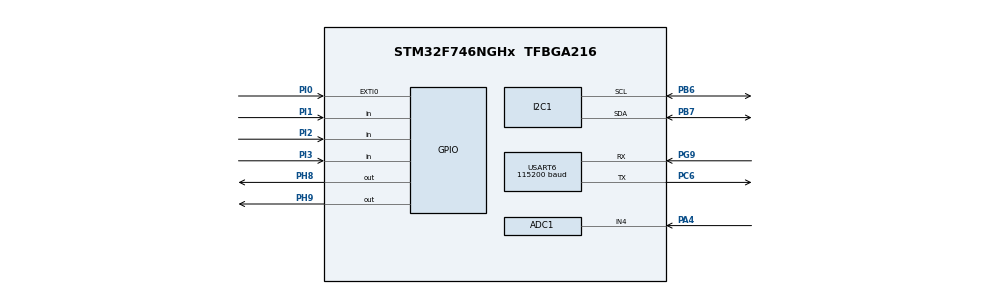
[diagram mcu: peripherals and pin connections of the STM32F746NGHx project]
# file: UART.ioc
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ADC1.Channel-0\#ChannelRegularConversion=ADC_CHANNEL_4
ADC1.NbrOfConversionFlag=1
ADC1.Rank-0\#ChannelRegularConversion=1
ADC1.SamplingTime-0\#ChannelRegularConversion=ADC_SAMPLETIME_3CYCLES
ADC1.master=1
Mcu.Family=STM32F7
Mcu.Name=STM32F746NGHx
Mcu.Package=TFBGA216
NVIC.ADC_IRQn=true\:0\:0\:false\:false\:true\:true\:true\:true
NVIC.EXTI0_IRQn=true\:1\:0\:true\:false\:true\:true\:true\:true
NVIC.PriorityGroup=NVIC_PRIORITYGROUP_4
NVIC.USART6_IRQn=true\:0\:0\:true\:false\:true\:true\:true\:true
PA4.Signal=ADCx_IN4
PB6.Mode=I2C
PB6.Signal=I2C1_SCL
PB7.Mode=I2C
PB7.Signal=I2C1_SDA
PC6.Mode=Asynchronous
PC6.Signal=USART6_TX
PG9.Mode=Asynchronous
PG9.Signal=USART6_RX
PH8.GPIO_Speed=GPIO_SPEED_FREQ_HIGH
PH8.PinState=GPIO_PIN_SET
PH8.Signal=GPIO_Output
PH9.GPIO_Speed=GPIO_SPEED_FREQ_HIGH
PH9.PinState=GPIO_PIN_SET
PH9.Signal=GPIO_Output
PI0.GPIO_ModeDefaultEXTI=GPIO_MODE_IT_RISING_FALLING
PI0.GPIO_PuPd=GPIO_PULLUP
PI0.Signal=GPXTI0
PI1.GPIO_PuPd=GPIO_PULLUP
PI1.Signal=GPIO_Input
PI2.GPIO_PuPd=GPIO_PULLUP
PI2.Signal=GPIO_Input
PI3.GPIO_PuPd=GPIO_PULLUP
PI3.Signal=GPIO_Input
ProjectManager.HeapSize=0x200
ProjectManager.StackSize=0x400
ProjectManager.TargetToolchain=STM32CubeIDE
RCC.HSE_VALUE=25000000
RCC.HSI_VALUE=16000000
RCC.LSE_VALUE=32768
RCC.USBFreq_Value=96000000
RCC.VCOOutputFreq_Value=192000000
SH.ADCx_IN4.0=ADC1_IN4,IN4
USART6.BaudRate=115200
USART6.VirtualMode-Asynchronous=VM_ASYNC
board=custom

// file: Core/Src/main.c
/* USER CODE BEGIN Header */
/**
  ******************************************************************************
  * @file           : main.c
  * @brief          : Main program body
  ******************************************************************************
  * @attention
  *
  * Copyright (c) 2023 STMicroelectronics.
  * All rights reserved.
  *
  * This software is licensed under terms that can be found in the LICENSE file
  * in the root directory of this software component.
  * If no LICENSE file comes with this software, it is provided AS-IS.
  *
  ******************************************************************************
  */
/* USER CODE END Header */
#include "main.h"

/* USER CODE BEGIN Includes */
#include "string.h"
/* USER CODE END Includes */

ADC_HandleTypeDef hadc1;

I2C_HandleTypeDef hi2c1;

UART_HandleTypeDef huart6;

void SystemClock_Config(void);
static void MX_GPIO_Init(void);
static void MX_USART6_UART_Init(void);
static void MX_I2C1_Init(void);
static void MX_ADC1_Init(void);

/* USER CODE BEGIN 0 */

char  RxData[9] = {0};
char RxBuffer[50] = {0};
uint8_t rxIndex = 0;
uint32_t uartTick = 0;

/********** Callback after UARTR Receiver Interrupt completion ***********/

void HAL_UART_RxCpltCallback(UART_HandleTypeDef *huart)
{
	uartTick = HAL_GetTick();

	RxBuffer[rxIndex] = RxData[0];
	rxIndex++;
	if(rxIndex >= 50)
	{
		rxIndex = 0;
	}
	HAL_UART_Receive_IT(&huart6,&RxData,1);  //Receiving the value from the user byte by byte.
}

/* USER CODE END 0 */

int main(void)
{

  /* MCU Configuration--------------------------------------------------------*/

  /* Reset of all peripherals, Initializes the Flash interface and the Systick. */
  HAL_Init();

  /* Configure the system clock */
  SystemClock_Config();

  /* Initialize all configured peripherals */

  MX_GPIO_Init();
  MX_USART6_UART_Init();
  MX_I2C1_Init();
  MX_ADC1_Init();

  /* USER CODE BEGIN 2 */

  //HAL_UART_Transmit(&huart6, "Hi I Am AMM\r\n",13,100);

  HAL_UART_Receive_IT(&huart6, &RxData, 1);

  /* USER CODE END 2 */

  /* Infinite loop */
  while (1)
  {

    /* USER CODE BEGIN 3 */
	if((HAL_GetTick() - uartTick) > 10)
	{
		HAL_UART_Transmit(&huart6, &RxBuffer, strlen(RxBuffer), 100);

		memset(RxBuffer,'\0', 50);
		rxIndex = 0;
	}
  }
  /* USER CODE END 3 */
}

void SystemClock_Config(void)
{
  RCC_OscInitTypeDef RCC_OscInitStruct = {0};
  RCC_ClkInitTypeDef RCC_ClkInitStruct = {0};

  /** Configure the main internal regulator output voltage
  */
  __HAL_RCC_PWR_CLK_ENABLE();
  __HAL_PWR_VOLTAGESCALING_CONFIG(PWR_REGULATOR_VOLTAGE_SCALE3);

  /** Initializes the RCC Oscillators according to the specified parameters
  * in the RCC_OscInitTypeDef structure.
  */
  RCC_OscInitStruct.OscillatorType = RCC_OSCILLATORTYPE_HSI;
  RCC_OscInitStruct.HSIState = RCC_HSI_ON;
  RCC_OscInitStruct.HSICalibrationValue = RCC_HSICALIBRATION_DEFAULT;
  RCC_OscInitStruct.PLL.PLLState = RCC_PLL_NONE;
  if (HAL_RCC_OscConfig(&RCC_OscInitStruct) != HAL_OK)
  {
    Error_Handler();
  }

  /** Initializes the CPU, AHB and APB buses clocks
  */
  RCC_ClkInitStruct.ClockType = RCC_CLOCKTYPE_HCLK|RCC_CLOCKTYPE_SYSCLK
                              |RCC_CLOCKTYPE_PCLK1|RCC_CLOCKTYPE_PCLK2;
  RCC_ClkInitStruct.SYSCLKSource = RCC_SYSCLKSOURCE_HSI;
  RCC_ClkInitStruct.AHBCLKDivider = RCC_SYSCLK_DIV1;
  RCC_ClkInitStruct.APB1CLKDivider = RCC_HCLK_DIV1;
  RCC_ClkInitStruct.APB2CLKDivider = RCC_HCLK_DIV1;

  if (HAL_RCC_ClockConfig(&RCC_ClkInitStruct, FLASH_LATENCY_0) != HAL_OK)
  {
    Error_Handler();
  }
}

static void MX_ADC1_Init(void)
{

  ADC_ChannelConfTypeDef sConfig = {0};

  /** Configure the global features of the ADC (Clock, Resolution, Data Alignment and number of conversion)
  */
  hadc1.Instance = ADC1;
  hadc1.Init.ClockPrescaler = ADC_CLOCK_SYNC_PCLK_DIV2;
  hadc1.Init.Resolution = ADC_RESOLUTION_12B;
  hadc1.Init.ScanConvMode = ADC_SCAN_DISABLE;
  hadc1.Init.ContinuousConvMode = DISABLE;
  hadc1.Init.DiscontinuousConvMode = DISABLE;
  hadc1.Init.ExternalTrigConvEdge = ADC_EXTERNALTRIGCONVEDGE_NONE;
  hadc1.Init.ExternalTrigConv = ADC_SOFTWARE_START;
  hadc1.Init.DataAlign = ADC_DATAALIGN_RIGHT;
  hadc1.Init.NbrOfConversion = 1;
  hadc1.Init.DMAContinuousRequests = DISABLE;
  hadc1.Init.EOCSelection = ADC_EOC_SINGLE_CONV;
  if (HAL_ADC_Init(&hadc1) != HAL_OK)
  {
    Error_Handler();
  }

  /** Configure for the selected ADC regular channel its corresponding rank in the sequencer and its sample time.
  */
  sConfig.Channel = ADC_CHANNEL_4;
  sConfig.Rank = ADC_REGULAR_RANK_1;
  sConfig.SamplingTime = ADC_SAMPLETIME_3CYCLES;
  if (HAL_ADC_ConfigChannel(&hadc1, &sConfig) != HAL_OK)
  {
    Error_Handler();
  }

}

static void MX_I2C1_Init(void)
{

  hi2c1.Instance = I2C1;
  hi2c1.Init.Timing = 0x00303D5B;
  hi2c1.Init.OwnAddress1 = 0;
  hi2c1.Init.AddressingMode = I2C_ADDRESSINGMODE_7BIT;
  hi2c1.Init.DualAddressMode = I2C_DUALADDRESS_DISABLE;
  hi2c1.Init.OwnAddress2 = 0;
  hi2c1.Init.OwnAddress2Masks = I2C_OA2_NOMASK;
  hi2c1.Init.GeneralCallMode = I2C_GENERALCALL_DISABLE;
  hi2c1.Init.NoStretchMode = I2C_NOSTRETCH_DISABLE;
  if (HAL_I2C_Init(&hi2c1) != HAL_OK)
  {
    Error_Handler();
  }

  /** Configure Analogue filter
  */
  if (HAL_I2CEx_ConfigAnalogFilter(&hi2c1, I2C_ANALOGFILTER_ENABLE) != HAL_OK)
  {
    Error_Handler();
  }

  /** Configure Digital filter
  */
  if (HAL_I2CEx_ConfigDigitalFilter(&hi2c1, 0) != HAL_OK)
  {
    Error_Handler();
  }

}

static void MX_USART6_UART_Init(void)
{

  huart6.Instance = USART6;
  huart6.Init.BaudRate = 115200;
  huart6.Init.WordLength = UART_WORDLENGTH_8B;
  huart6.Init.StopBits = UART_STOPBITS_1;
  huart6.Init.Parity = UART_PARITY_NONE;
  huart6.Init.Mode = UART_MODE_TX_RX;
  huart6.Init.HwFlowCtl = UART_HWCONTROL_NONE;
  huart6.Init.OverSampling = UART_OVERSAMPLING_16;
  huart6.Init.OneBitSampling = UART_ONE_BIT_SAMPLE_DISABLE;
  huart6.AdvancedInit.AdvFeatureInit = UART_ADVFEATURE_NO_INIT;
  if (HAL_UART_Init(&huart6) != HAL_OK)
  {
    Error_Handler();
  }

}

static void MX_GPIO_Init(void)
{
  GPIO_InitTypeDef GPIO_InitStruct = {0};

  /* GPIO Ports Clock Enable */
  __HAL_RCC_GPIOB_CLK_ENABLE();
  __HAL_RCC_GPIOI_CLK_ENABLE();
  __HAL_RCC_GPIOG_CLK_ENABLE();
  __HAL_RCC_GPIOC_CLK_ENABLE();
  __HAL_RCC_GPIOA_CLK_ENABLE();
  __HAL_RCC_GPIOH_CLK_ENABLE();

  /*Configure GPIO pin Output Level */
  HAL_GPIO_WritePin(GPIOH, GPIO_PIN_9|GPIO_PIN_8, GPIO_PIN_SET);

  /*Configure GPIO pins : PI3 PI2 PI1 */
  GPIO_InitStruct.Pin = GPIO_PIN_3|GPIO_PIN_2|GPIO_PIN_1;
  GPIO_InitStruct.Mode = GPIO_MODE_INPUT;
  GPIO_InitStruct.Pull = GPIO_PULLUP;
  HAL_GPIO_Init(GPIOI, &GPIO_InitStruct);

  /*Configure GPIO pin : PI0 */
  GPIO_InitStruct.Pin = GPIO_PIN_0;
  GPIO_InitStruct.Mode = GPIO_MODE_IT_RISING_FALLING;
  GPIO_InitStruct.Pull = GPIO_PULLUP;
  HAL_GPIO_Init(GPIOI, &GPIO_InitStruct);

  /*Configure GPIO pins : PH9 PH8 */
  GPIO_InitStruct.Pin = GPIO_PIN_9|GPIO_PIN_8;
  GPIO_InitStruct.Mode = GPIO_MODE_OUTPUT_PP;
  GPIO_InitStruct.Pull = GPIO_NOPULL;
  GPIO_InitStruct.Speed = GPIO_SPEED_FREQ_HIGH;
  HAL_GPIO_Init(GPIOH, &GPIO_InitStruct);

  /* EXTI interrupt init*/
  HAL_NVIC_SetPriority(EXTI0_IRQn, 1, 0);
  HAL_NVIC_EnableIRQ(EXTI0_IRQn);

}

/* USER CODE BEGIN 4 */

/*void HAL_UART_RxCpltCallback(UART_HandleTypeDef *huart)
{

    RxBuffer[rxIndex] = RxData[0];  // Storing the each byte of the value in the buffer

	if(RxBuffer[rxIndex] == '.' )   //Ending condition for the string
	{
		RxBuffer[rxIndex] = 0;

		//Transmitting the value of the buffer after the complete reception
		HAL_UART_Transmit(&huart6, &RxBuffer, strlen(RxBuffer),100);

		RxBuffer[0] = '\r';
	    rxIndex = 0;
	}
	rxIndex++;  //incrementing the value of buffer after every byte read
	HAL_UART_Receive_IT(&huart6,&RxData,1);  //Receiving the value from the user byte by byte.

}
*/

/********* Callback  after the interrupt happen for the GPIO pins *********/

/*void HAL_GPIO_EXTI_Callback(uint16_t GPIO_Pin)
{
	  uint8_t B0 = ~(HAL_GPIO_ReadPin(GPIOI, GPIO_PIN_0))& 0x01;    //Reading the value of bit 0
	  uint8_t B1 = ~(HAL_GPIO_ReadPin(GPIOI, GPIO_PIN_1))& 0x01;    //Reading the value of bit 1
	  uint8_t B2 = ~(HAL_GPIO_ReadPin(GPIOI, GPIO_PIN_2))& 0x01;    //Reading the value of bit 2
	  uint8_t B3 = ~(HAL_GPIO_ReadPin(GPIOI, GPIO_PIN_3))& 0x01;    //Reading the value of bit 3

	  value_SW =((B3 << 3) | (B2 << 2) | (B1 << 1) | B0) & 0x0F ;   //Calculating the value of the switch

	  //readTemp(SLAVE_ADD, POINTER_ADD_TEMP);

	  //HAL_GPIO_WritePin(GPIOH, GPIO_PIN_8, GPIO_PIN_RESET);

	  //itoa(value_SW,swBuff,10);        //Converting the integer value into ASCII

	  swBuff = value_SW;
	  HAL_UART_Transmit(&huart6, &swBuff,1,100);

	  //HAL_GPIO_WritePin(GPIOH, GPIO_PIN_8, GPIO_PIN_SET);
}
*/
/****************Converting the hex into decimal **********************/

/*int hex_to_dec(int hex)
{
  int dec = 0;
  int power = 1;
  while (hex > 0)
  {
    int digit = hex % 16;
    dec += digit * power;
    hex /= 16;
    power *= 16;
  }
  return dec;
}
*/
/*** Reading the temp value in default mode with 0.25C increase for every value increment ***/

/*void readTemp(uint8_t  slaveAdd, uint8_t pointerAdd)
{
	uint8_t  data[2];
	uint8_t  valueBuff[4];
	uint16_t temp;
	uint16_t temp3;
    int8_t  sign;

    //Sending the slave address along with the pointer address of the Temperature data register.
    HAL_I2C_Mem_Read(&hi2c1, slaveAdd, pointerAdd, 1, data, 2, 20);

    temp = (data[1] << 8) | data[0];     //Converting the register value into 16 bits.
    uint16_t temp2 = temp & 0x8000;      //Checking the sign bit value in the register
    uint16_t temp1 = (((~temp)+ 1) >> 5) & 0x3FF;         //Excluding the reserved bits from 16 bit value.
    uint16_t decimal = hex_to_dec(temp1);   //Converting the hex into decimal

    if(temp2 == 0x00)
    {
    	sign = +1;
    }
    else
    {
    	sign = -1;
    }

    int16_t temp_celsius = (decimal * sign * 0.25);  // Converting the value into celsius.

    itoa(temp_celsius,valueBuff,10);       //Converting the integer value into ASCII characters.

    HAL_UART_Transmit(&huart6, valueBuff, 4, 100);   //Transmitting the data to serial console.

}
*/

/* USER CODE END 4 */

void Error_Handler(void)
{
  __disable_irq();
  while (1)
  {
  }
}
